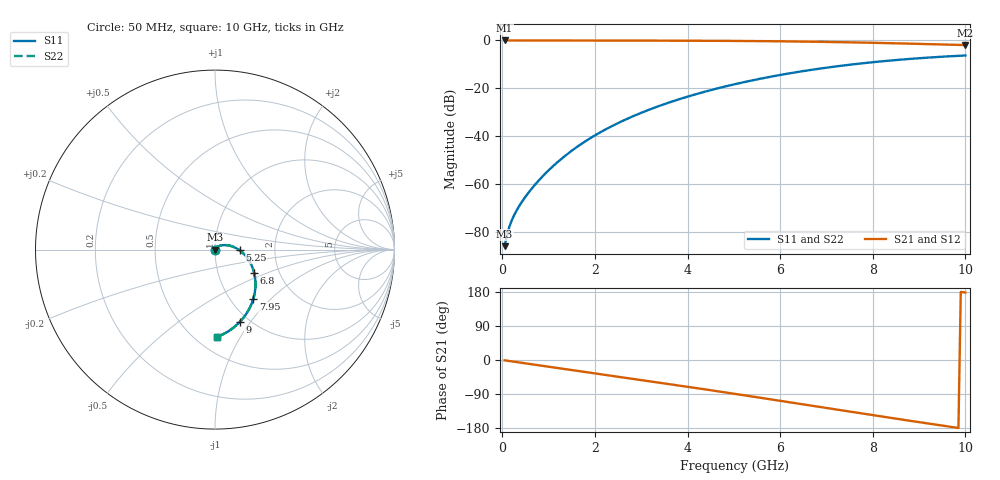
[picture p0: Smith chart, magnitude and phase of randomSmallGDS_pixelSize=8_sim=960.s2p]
! freq	dB(S11)	phase(S11)	dB(S12)	phase(S12)
!  dB(S21)	phase(S21)	dB(S22)	phase(S22)
!S-par simulation data
#  GHz  S  DB  R 50
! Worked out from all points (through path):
!   200 points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, 50 MHz to 10 GHz, reference 50 ohm
!   highest |S21| = 0.00 dB at 50 MHz (marker M1); lowest = -1.9 dB at 10 GHz (marker M2)
!   group delay of S21, straight-line fit = 50.9 ps
!   lowest |S11| = -85.7 dB at 50 MHz (marker M3), VSWR 1.00, Z = 50 + j0.00405 ohm
!   |S11| at or under -10 dB: start of sweep to 7.552 GHz
!   |S22| runs from -85.7 to -6.3 dB; largest |S21 - S12| = 0
!   S11 on the Smith chart (normalised r, x): 50 MHz: 1.00, +0.00; 5.25 GHz: 1.32, -0.01; 6.8 GHz: 1.49, -0.42; 7.95 GHz: 1.26, -0.79; 9 GHz: 0.90, -0.89; 10 GHz: 0.63, -0.80
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0.05  -85.72 51.5  -0.00 -0.9  -0.00 -0.9  -85.72 51.5
0.1  -81.12 68.7  -0.00 -1.8  -0.00 -1.8  -81.11 68.7
0.25  -73.03 82.1  -0.00 -4.4  -0.00 -4.4  -73.03 82.1
0.4  -67.93 85.3  -0.01 -7.0  -0.01 -7.0  -67.93 85.2
0.55  -63.83 85.6  -0.01 -9.7  -0.01 -9.7  -63.83 85.5
0.75  -59.15 83.8  -0.02 -13.1  -0.02 -13.1  -59.15 83.8
1.2  -50.59 76.2  -0.02 -21.0  -0.02 -21.0  -50.59 76.2
1.75  -42.57 65.2  -0.03 -30.6  -0.03 -30.6  -42.57 65.2
2.1  -38.45 58.2  -0.04 -36.7  -0.04 -36.7  -38.45 58.1
2.5  -34.42 50.2  -0.05 -43.8  -0.05 -43.8  -34.42 50.2
3.4  -27.21 33.0  -0.08 -59.8  -0.08 -59.8  -27.21 32.9
4.25  -22.01 17.0  -0.12 -75.2  -0.12 -75.2  -22.01 17.0
5.05  -18.10 2.0  -0.20 -89.9  -0.20 -89.9  -18.10 2.0
5.25  -17.24 -1.7  -0.22 -93.6  -0.22 -93.6  -17.24 -1.7
5.95  -14.55 -14.9  -0.34 -106.7  -0.34 -106.7  -14.55 -14.9
6.7  -12.17 -29.0  -0.52 -120.9  -0.52 -120.9  -12.17 -29.0
6.8  -11.89 -30.9  -0.55 -122.8  -0.55 -122.8  -11.89 -30.9
7.4  -10.35 -42.1  -0.74 -134.1  -0.74 -134.1  -10.35 -42.1
7.95  -9.16 -52.3  -0.95 -144.5  -0.95 -144.5  -9.16 -52.3
8.35  -8.41 -59.6  -1.12 -152.0  -1.12 -152.0  -8.41 -59.6
9  -7.40 -71.2  -1.43 -164.0  -1.43 -164.0  -7.40 -71.3
10  -6.26 -88.6  -1.93 178.0  -1.93 178.0  -6.26 -88.6
